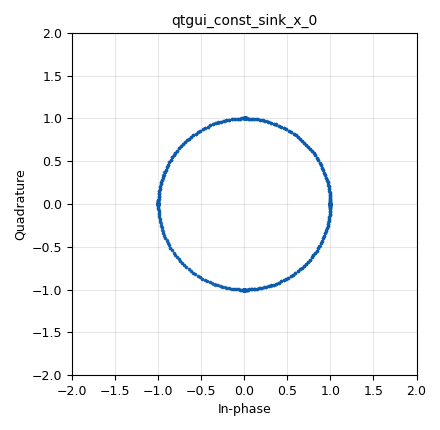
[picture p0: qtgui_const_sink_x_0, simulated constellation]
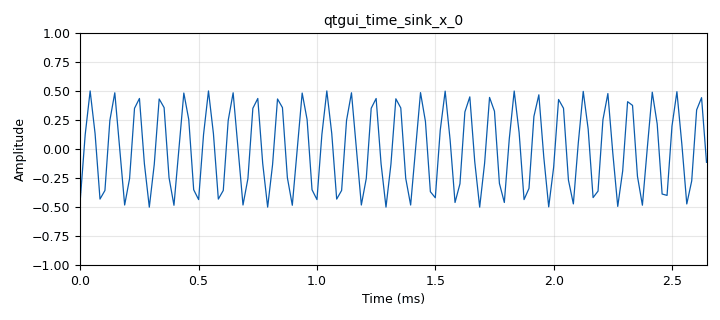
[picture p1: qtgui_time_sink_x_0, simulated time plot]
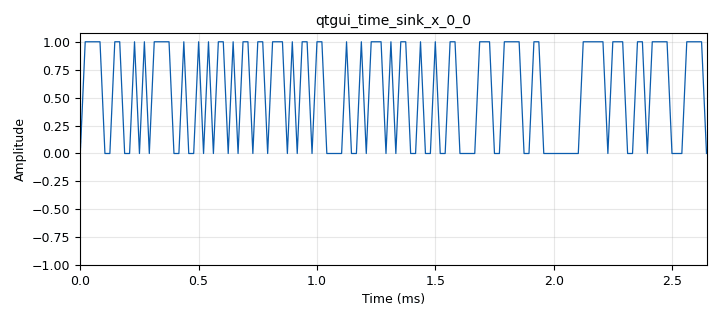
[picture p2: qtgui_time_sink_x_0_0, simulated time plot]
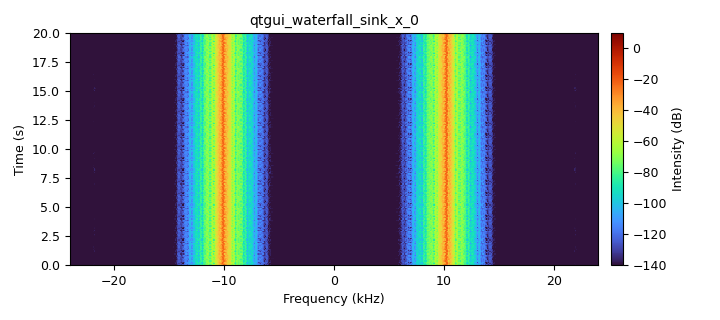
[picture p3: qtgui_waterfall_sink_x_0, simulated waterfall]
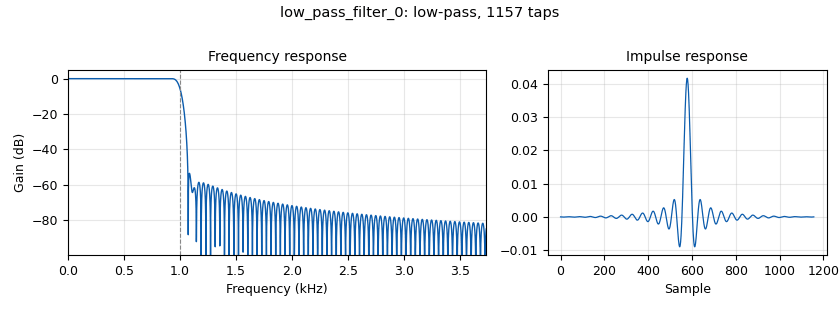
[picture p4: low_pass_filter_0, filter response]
<?xml version='1.0' encoding='utf-8'?>
<?grc format='1' created='3.7.13'?>
<flow_graph>
<block>
<key>options</key>
<param><key>id</key><value>top_block</value></param>
<param><key>generate_options</key><value>qt_gui</value></param>
</block>
<block>
<key>variable</key>
<param><key>id</key><value>amp</value></param>
<param><key>value</key><value>0.5</value></param>
</block>
<block>
<key>variable</key>
<param><key>id</key><value>freq</value></param>
<param><key>value</key><value>10000</value></param>
</block>
<block>
<key>variable</key>
<param><key>id</key><value>samp_rate</value></param>
<param><key>value</key><value>48000</value></param>
</block>
<block>
<key>analog_noise_source_x</key>
<param><key>id</key><value>analog_noise_source_x_0</value></param>
<param><key>amp</key><value>0.0</value></param>
<param><key>noise_type</key><value>analog.GR_GAUSSIAN</value></param>
<param><key>type</key><value>float</value></param>
<param><key>seed</key><value>0</value></param>
</block>
<block>
<key>analog_random_source_x</key>
<param><key>id</key><value>analog_random_source_x_0</value></param>
<param><key>max</key><value>2</value></param>
<param><key>min</key><value>0</value></param>
<param><key>num_samps</key><value>1000</value></param>
<param><key>type</key><value>byte</value></param>
<param><key>repeat</key><value>True</value></param>
</block>
<block>
<key>analog_sig_source_x</key>
<param><key>id</key><value>analog_sig_source_x_0</value></param>
<param><key>amp</key><value>amp</value></param>
<param><key>freq</key><value>freq</value></param>
<param><key>offset</key><value>0</value></param>
<param><key>type</key><value>float</value></param>
<param><key>samp_rate</key><value>samp_rate</value></param>
<param><key>waveform</key><value>analog.GR_SIN_WAVE</value></param>
</block>
<block>
<key>analog_sig_source_x</key>
<param><key>id</key><value>analog_sig_source_x_0_0</value></param>
<param><key>amp</key><value>amp</value></param>
<param><key>freq</key><value>freq</value></param>
<param><key>offset</key><value>0</value></param>
<param><key>type</key><value>float</value></param>
<param><key>samp_rate</key><value>samp_rate</value></param>
<param><key>waveform</key><value>analog.GR_COS_WAVE</value></param>
</block>
<block>
<key>audio_sink</key>
<param><key>id</key><value>audio_sink</value></param>
<param><key>device_name</key><value>hw:2,0</value></param>
<param><key>samp_rate</key><value>samp_rate</value></param>
</block>
<block>
<key>audio_source</key>
<param><key>id</key><value>audio_source_0</value></param>
<param><key>device_name</key><value>hw:2,0</value></param>
<param><key>samp_rate</key><value>samp_rate</value></param>
</block>
<block>
<key>blocks_add_xx</key>
<param><key>id</key><value>blocks_add_xx_0</value></param>
<param><key>type</key><value>float</value></param>
</block>
<block>
<key>blocks_add_xx</key>
<param><key>id</key><value>blocks_add_xx_0_0</value></param>
<param><key>type</key><value>float</value></param>
</block>
<block>
<key>blocks_char_to_float</key>
<param><key>id</key><value>blocks_char_to_float_0</value></param>
<param><key>scale</key><value>1</value></param>
</block>
<block>
<key>blocks_complex_to_float</key>
<param><key>id</key><value>blocks_complex_to_float_0</value></param>
</block>
<block>
<key>blocks_float_to_complex</key>
<param><key>id</key><value>blocks_float_to_complex_0</value></param>
</block>
<block>
<key>blocks_multiply_conjugate_cc</key>
<param><key>id</key><value>blocks_multiply_conjugate_cc_0</value></param>
<param><key>vlen</key><value>4096</value></param>
</block>
<block>
<key>blocks_multiply_xx</key>
<param><key>id</key><value>blocks_multiply_xx_0</value></param>
<param><key>type</key><value>float</value></param>
</block>
<block>
<key>blocks_multiply_xx</key>
<param><key>id</key><value>blocks_multiply_xx_0_0</value></param>
<param><key>type</key><value>float</value></param>
</block>
<block>
<key>blocks_multiply_xx</key>
<param><key>id</key><value>blocks_multiply_xx_0_0_0</value></param>
<param><key>type</key><value>float</value></param>
</block>
<block>
<key>blocks_multiply_xx</key>
<param><key>id</key><value>blocks_multiply_xx_0_1</value></param>
<param><key>type</key><value>float</value></param>
</block>
<block>
<key>blocks_stream_to_vector</key>
<param><key>id</key><value>blocks_stream_to_vector_0</value></param>
<param><key>type</key><value>complex</value></param>
<param><key>num_items</key><value>4096</value></param>
</block>
<block>
<key>blocks_stream_to_vector</key>
<param><key>id</key><value>blocks_stream_to_vector_0_0</value></param>
<param><key>type</key><value>complex</value></param>
<param><key>num_items</key><value>4096</value></param>
</block>
<block>
<key>blocks_vector_to_stream</key>
<param><key>id</key><value>blocks_vector_to_stream_0</value></param>
<param><key>type</key><value>complex</value></param>
<param><key>num_items</key><value>4096</value></param>
</block>
<block>
<key>digital_gmskmod_bc</key>
<param><key>id</key><value>digital_gmskmod_bc_0</value></param>
<param><key>bt</key><value>1</value></param>
<param><key>L</key><value>8</value></param>
<param><key>samples_per_symbol</key><value>48</value></param>
</block>
<block>
<key>fft_vxx</key>
<param><key>id</key><value>fft_vxx_0</value></param>
<param><key>fft_size</key><value>4096</value></param>
<param><key>forward</key><value>True</value></param>
<param><key>type</key><value>complex</value></param>
<param><key>shift</key><value>True</value></param>
<param><key>window</key><value>window.blackmanharris(4096)</value></param>
</block>
<block>
<key>fft_vxx</key>
<param><key>id</key><value>fft_vxx_0_0</value></param>
<param><key>fft_size</key><value>4096</value></param>
<param><key>forward</key><value>True</value></param>
<param><key>type</key><value>complex</value></param>
<param><key>shift</key><value>True</value></param>
<param><key>window</key><value>window.blackmanharris(4096)</value></param>
</block>
<block>
<key>fft_vxx</key>
<param><key>id</key><value>fft_vxx_0_1</value></param>
<param><key>fft_size</key><value>4096</value></param>
<param><key>forward</key><value>False</value></param>
<param><key>type</key><value>complex</value></param>
<param><key>shift</key><value>True</value></param>
<param><key>window</key><value>window.blackmanharris(4096)</value></param>
</block>
<block>
<key>low_pass_filter</key>
<param><key>id</key><value>low_pass_filter_0</value></param>
<param><key>cutoff_freq</key><value>1000</value></param>
<param><key>decim</key><value>1</value></param>
<param><key>type</key><value>fir_filter_ccf</value></param>
<param><key>gain</key><value>1</value></param>
<param><key>samp_rate</key><value>samp_rate</value></param>
<param><key>width</key><value>100</value></param>
<param><key>win</key><value>firdes.WIN_HAMMING</value></param>
</block>
<block>
<key>qtgui_const_sink_x</key>
<param><key>id</key><value>qtgui_const_sink_x_0</value></param>
<param><key>size</key><value>1024</value></param>
<param><key>type</key><value>complex</value></param>
</block>
<block>
<key>qtgui_const_sink_x</key>
<param><key>id</key><value>qtgui_const_sink_x_0_0</value></param>
<param><key>size</key><value>1024</value></param>
<param><key>type</key><value>complex</value></param>
</block>
<block>
<key>qtgui_time_sink_x</key>
<param><key>id</key><value>qtgui_time_sink_x_0</value></param>
<param><key>color1</key><value>"blue"</value></param>
<param><key>label1</key><value></value></param>
<param><key>size</key><value>128</value></param>
<param><key>srate</key><value>samp_rate</value></param>
<param><key>tr_mode</key><value>qtgui.TRIG_MODE_NORM</value></param>
<param><key>type</key><value>float</value></param>
<param><key>update_time</key><value>0.05</value></param>
</block>
<block>
<key>qtgui_time_sink_x</key>
<param><key>id</key><value>qtgui_time_sink_x_0_0</value></param>
<param><key>color1</key><value>"blue"</value></param>
<param><key>label1</key><value></value></param>
<param><key>size</key><value>128</value></param>
<param><key>srate</key><value>samp_rate</value></param>
<param><key>tr_mode</key><value>qtgui.TRIG_MODE_NORM</value></param>
<param><key>type</key><value>float</value></param>
<param><key>update_time</key><value>0.05</value></param>
</block>
<block>
<key>qtgui_time_sink_x</key>
<param><key>id</key><value>qtgui_time_sink_x_0_1</value></param>
<param><key>color1</key><value>"blue"</value></param>
<param><key>label1</key><value></value></param>
<param><key>color2</key><value>"red"</value></param>
<param><key>label2</key><value></value></param>
<param><key>size</key><value>128</value></param>
<param><key>srate</key><value>samp_rate</value></param>
<param><key>tr_mode</key><value>qtgui.TRIG_MODE_NORM</value></param>
<param><key>type</key><value>complex</value></param>
<param><key>update_time</key><value>0.05</value></param>
</block>
<block>
<key>qtgui_time_sink_x</key>
<param><key>id</key><value>qtgui_time_sink_x_0_1_0</value></param>
<param><key>color1</key><value>"blue"</value></param>
<param><key>label1</key><value></value></param>
<param><key>color2</key><value>"red"</value></param>
<param><key>label2</key><value></value></param>
<param><key>size</key><value>128</value></param>
<param><key>srate</key><value>samp_rate</value></param>
<param><key>tr_mode</key><value>qtgui.TRIG_MODE_NORM</value></param>
<param><key>type</key><value>complex</value></param>
<param><key>update_time</key><value>0.05</value></param>
</block>
<block>
<key>qtgui_time_sink_x</key>
<param><key>id</key><value>qtgui_time_sink_x_0_1_0_0</value></param>
<param><key>color1</key><value>"blue"</value></param>
<param><key>label1</key><value></value></param>
<param><key>color2</key><value>"red"</value></param>
<param><key>label2</key><value></value></param>
<param><key>size</key><value>48000</value></param>
<param><key>srate</key><value>samp_rate</value></param>
<param><key>tr_mode</key><value>qtgui.TRIG_MODE_NORM</value></param>
<param><key>type</key><value>complex</value></param>
<param><key>update_time</key><value>0.1</value></param>
<param><key>ymax</key><value>100000</value></param>
<param><key>ymin</key><value>-100000</value></param>
</block>
<block>
<key>qtgui_waterfall_sink_x</key>
<param><key>id</key><value>qtgui_waterfall_sink_x_0</value></param>
<param><key>bw</key><value>samp_rate</value></param>
<param><key>fc</key><value>0</value></param>
<param><key>fftsize</key><value>1024</value></param>
<param><key>showports</key><value>True</value></param>
<param><key>type</key><value>float</value></param>
<param><key>wintype</key><value>firdes.WIN_BLACKMAN_hARRIS</value></param>
</block>
<block>
<key>qtgui_waterfall_sink_x</key>
<param><key>id</key><value>qtgui_waterfall_sink_x_0_0</value></param>
<param><key>bw</key><value>samp_rate</value></param>
<param><key>fc</key><value>0</value></param>
<param><key>fftsize</key><value>1024</value></param>
<param><key>showports</key><value>True</value></param>
<param><key>type</key><value>float</value></param>
<param><key>wintype</key><value>firdes.WIN_BLACKMAN_hARRIS</value></param>
</block>
<connection><source_block_id>analog_noise_source_x_0</source_block_id><sink_block_id>blocks_add_xx_0</sink_block_id><source_key>0</source_key><sink_key>0</sink_key></connection>
<connection><source_block_id>analog_random_source_x_0</source_block_id><sink_block_id>blocks_char_to_float_0</sink_block_id><source_key>0</source_key><sink_key>0</sink_key></connection>
<connection><source_block_id>analog_random_source_x_0</source_block_id><sink_block_id>digital_gmskmod_bc_0</sink_block_id><source_key>0</source_key><sink_key>0</sink_key></connection>
<connection><source_block_id>analog_sig_source_x_0</source_block_id><sink_block_id>blocks_multiply_xx_0</sink_block_id><source_key>0</source_key><sink_key>0</sink_key></connection>
<connection><source_block_id>analog_sig_source_x_0</source_block_id><sink_block_id>blocks_multiply_xx_0_1</sink_block_id><source_key>0</source_key><sink_key>0</sink_key></connection>
<connection><source_block_id>analog_sig_source_x_0_0</source_block_id><sink_block_id>blocks_multiply_xx_0_0</sink_block_id><source_key>0</source_key><sink_key>0</sink_key></connection>
<connection><source_block_id>analog_sig_source_x_0_0</source_block_id><sink_block_id>blocks_multiply_xx_0_0_0</sink_block_id><source_key>0</source_key><sink_key>0</sink_key></connection>
<connection><source_block_id>audio_source_0</source_block_id><sink_block_id>blocks_multiply_xx_0_0_0</sink_block_id><source_key>0</source_key><sink_key>1</sink_key></connection>
<connection><source_block_id>audio_source_0</source_block_id><sink_block_id>blocks_multiply_xx_0_1</sink_block_id><source_key>0</source_key><sink_key>1</sink_key></connection>
<connection><source_block_id>audio_source_0</source_block_id><sink_block_id>qtgui_waterfall_sink_x_0_0</sink_block_id><source_key>0</source_key><sink_key>0</sink_key></connection>
<connection><source_block_id>blocks_add_xx_0</source_block_id><sink_block_id>audio_sink</sink_block_id><source_key>0</source_key><sink_key>0</sink_key></connection>
<connection><source_block_id>blocks_add_xx_0</source_block_id><sink_block_id>qtgui_time_sink_x_0</sink_block_id><source_key>0</source_key><sink_key>0</sink_key></connection>
<connection><source_block_id>blocks_add_xx_0</source_block_id><sink_block_id>qtgui_waterfall_sink_x_0</sink_block_id><source_key>0</source_key><sink_key>0</sink_key></connection>
<connection><source_block_id>blocks_add_xx_0_0</source_block_id><sink_block_id>blocks_add_xx_0</sink_block_id><source_key>0</source_key><sink_key>1</sink_key></connection>
<connection><source_block_id>blocks_char_to_float_0</source_block_id><sink_block_id>qtgui_time_sink_x_0_0</sink_block_id><source_key>0</source_key><sink_key>0</sink_key></connection>
<connection><source_block_id>blocks_complex_to_float_0</source_block_id><sink_block_id>blocks_multiply_xx_0_0</sink_block_id><source_key>1</source_key><sink_key>1</sink_key></connection>
<connection><source_block_id>blocks_complex_to_float_0</source_block_id><sink_block_id>blocks_multiply_xx_0</sink_block_id><source_key>0</source_key><sink_key>1</sink_key></connection>
<connection><source_block_id>blocks_float_to_complex_0</source_block_id><sink_block_id>blocks_stream_to_vector_0_0</sink_block_id><source_key>0</source_key><sink_key>0</sink_key></connection>
<connection><source_block_id>blocks_float_to_complex_0</source_block_id><sink_block_id>low_pass_filter_0</sink_block_id><source_key>0</source_key><sink_key>0</sink_key></connection>
<connection><source_block_id>blocks_float_to_complex_0</source_block_id><sink_block_id>qtgui_time_sink_x_0_1</sink_block_id><source_key>0</source_key><sink_key>0</sink_key></connection>
<connection><source_block_id>blocks_multiply_conjugate_cc_0</source_block_id><sink_block_id>fft_vxx_0_1</sink_block_id><source_key>0</source_key><sink_key>0</sink_key></connection>
<connection><source_block_id>blocks_multiply_xx_0</source_block_id><sink_block_id>blocks_add_xx_0_0</sink_block_id><source_key>0</source_key><sink_key>0</sink_key></connection>
<connection><source_block_id>blocks_multiply_xx_0_0</source_block_id><sink_block_id>blocks_add_xx_0_0</sink_block_id><source_key>0</source_key><sink_key>1</sink_key></connection>
<connection><source_block_id>blocks_multiply_xx_0_0_0</source_block_id><sink_block_id>blocks_float_to_complex_0</sink_block_id><source_key>0</source_key><sink_key>1</sink_key></connection>
<connection><source_block_id>blocks_multiply_xx_0_1</source_block_id><sink_block_id>blocks_float_to_complex_0</sink_block_id><source_key>0</source_key><sink_key>0</sink_key></connection>
<connection><source_block_id>blocks_stream_to_vector_0</source_block_id><sink_block_id>fft_vxx_0</sink_block_id><source_key>0</source_key><sink_key>0</sink_key></connection>
<connection><source_block_id>blocks_stream_to_vector_0_0</source_block_id><sink_block_id>fft_vxx_0_0</sink_block_id><source_key>0</source_key><sink_key>0</sink_key></connection>
<connection><source_block_id>blocks_vector_to_stream_0</source_block_id><sink_block_id>qtgui_time_sink_x_0_1_0_0</sink_block_id><source_key>0</source_key><sink_key>0</sink_key></connection>
<connection><source_block_id>digital_gmskmod_bc_0</source_block_id><sink_block_id>blocks_complex_to_float_0</sink_block_id><source_key>0</source_key><sink_key>0</sink_key></connection>
<connection><source_block_id>digital_gmskmod_bc_0</source_block_id><sink_block_id>blocks_stream_to_vector_0</sink_block_id><source_key>0</source_key><sink_key>0</sink_key></connection>
<connection><source_block_id>digital_gmskmod_bc_0</source_block_id><sink_block_id>qtgui_const_sink_x_0</sink_block_id><source_key>0</source_key><sink_key>0</sink_key></connection>
<connection><source_block_id>fft_vxx_0</source_block_id><sink_block_id>blocks_multiply_conjugate_cc_0</sink_block_id><source_key>0</source_key><sink_key>0</sink_key></connection>
<connection><source_block_id>fft_vxx_0_0</source_block_id><sink_block_id>blocks_multiply_conjugate_cc_0</sink_block_id><source_key>0</source_key><sink_key>1</sink_key></connection>
<connection><source_block_id>fft_vxx_0_1</source_block_id><sink_block_id>blocks_vector_to_stream_0</sink_block_id><source_key>0</source_key><sink_key>0</sink_key></connection>
<connection><source_block_id>low_pass_filter_0</source_block_id><sink_block_id>qtgui_const_sink_x_0_0</sink_block_id><source_key>0</source_key><sink_key>0</sink_key></connection>
<connection><source_block_id>low_pass_filter_0</source_block_id><sink_block_id>qtgui_time_sink_x_0_1_0</sink_block_id><source_key>0</source_key><sink_key>0</sink_key></connection>
</flow_graph>
